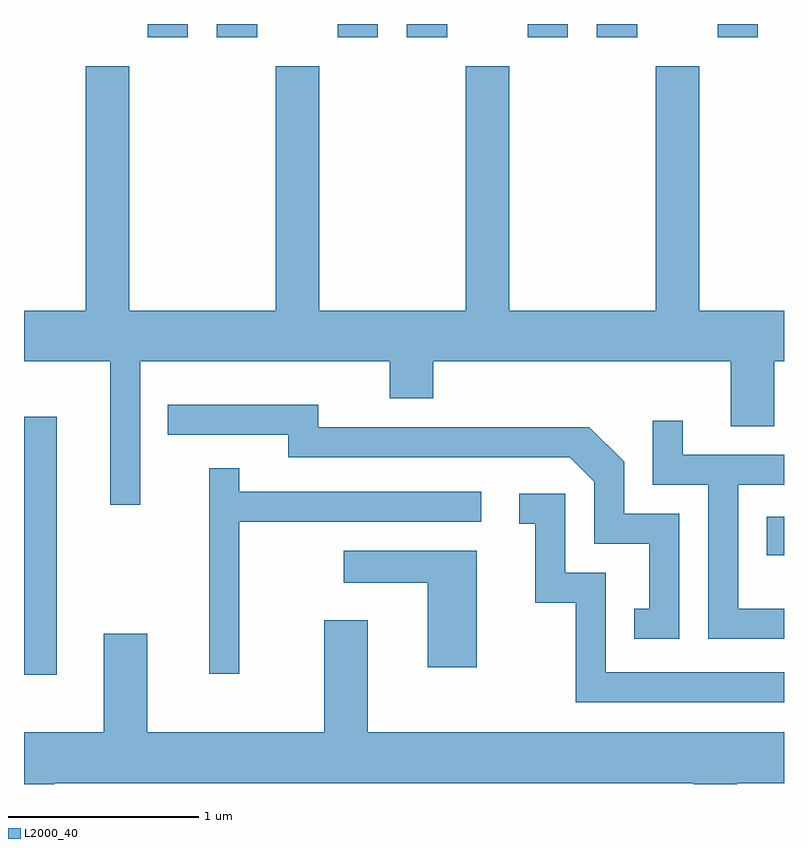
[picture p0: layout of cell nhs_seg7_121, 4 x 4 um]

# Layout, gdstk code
import gdstk
lib = gdstk.Library(unit=1e-6, precision=1e-09)
def R(c, l, rs):  # rectangles x0, y0, x1, y1
    for r in rs: c.add(gdstk.rectangle(r[:2], r[2:], *l))
def P(c, l, *ps):  # polygons
    for p in ps: c.add(gdstk.Polygon(p, *l))
L2000_40 = (2000, 40)

nhs_seg7_121 = lib.new_cell('nhs_seg7_121')
R(nhs_seg7_121, L2000_40, [(187.611,1774.826,187.784,1776.184), (191.521,1775.456,191.611,1775.659), (188.261,1778.181,188.474,1778.252), (188.626,1778.181,188.839,1778.252), (189.261,1778.181,189.474,1778.252), (189.626,1778.181,189.839,1778.252), (190.261,1778.181,190.474,1778.252), (190.626,1778.181,190.839,1778.252), (191.261,1778.181,191.474,1778.252)])
P(nhs_seg7_121, L2000_40, [(188.224,1776.476),(189.536,1776.476),(189.536,1776.281),(189.764,1776.281),(189.764,1776.476),(191.331,1776.476),(191.331,1776.136),(191.559,1776.136),(191.559,1776.476),(191.611,1776.476),(191.611,1776.744),(191.164,1776.744),(191.164,1778.029),(190.936,1778.029),(190.936,1776.744),(190.164,1776.744),(190.164,1778.029),(189.936,1778.029),(189.936,1776.744),(189.164,1776.744),(189.164,1778.029),(188.936,1778.029),(188.936,1776.744),(188.164,1776.744),(188.164,1778.029),(187.936,1778.029),(187.936,1776.744),(187.611,1776.744),(187.611,1776.476),(188.066,1776.476),(188.066,1775.723),(188.224,1775.723)],
  [(191.059,1775.674),(190.769,1775.674),(190.769,1775.947),(190.587,1776.129),(189.159,1776.129),(189.159,1776.249),(188.368,1776.249),(188.368,1776.091),(189.001,1776.091),(189.001,1775.971),(190.484,1775.971),(190.611,1775.844),(190.611,1775.516),(190.901,1775.516),(190.901,1775.174),(190.823,1775.174),(190.823,1775.016),(191.059,1775.016)],
  [(191.611,1775.174),(191.369,1775.174),(191.369,1775.826),(191.611,1775.826),(191.611,1775.984),(191.079,1775.984),(191.079,1776.163),(190.921,1776.163),(190.921,1775.826),(191.211,1775.826),(191.211,1775.016),(191.611,1775.016)],
  [(188.744,1775.631),(190.018,1775.631),(190.018,1775.789),(188.744,1775.789),(188.744,1775.913),(188.586,1775.913),(188.586,1774.833),(188.744,1774.833)],
  [(191.611,1774.839),(190.674,1774.839),(190.674,1775.364),(190.459,1775.364),(190.459,1775.779),(190.218,1775.779),(190.218,1775.621),(190.301,1775.621),(190.301,1775.206),(190.516,1775.206),(190.516,1774.681),(191.611,1774.681)],
  [(189.994,1775.479),(189.293,1775.479),(189.293,1775.311),(189.736,1775.311),(189.736,1774.866),(189.994,1774.866)],
  [(187.769,1774.256),(191.136,1774.256),(191.136,1774.252),(191.364,1774.252),(191.364,1774.256),(191.611,1774.256),(191.611,1774.524),(189.419,1774.524),(189.419,1775.114),(189.191,1775.114),(189.191,1774.524),(188.259,1774.524),(188.259,1775.044),(188.031,1775.044),(188.031,1774.524),(187.611,1774.524),(187.611,1774.252),(187.769,1774.252)])

lib.write_gds('nhs_seg7_121.gds')
